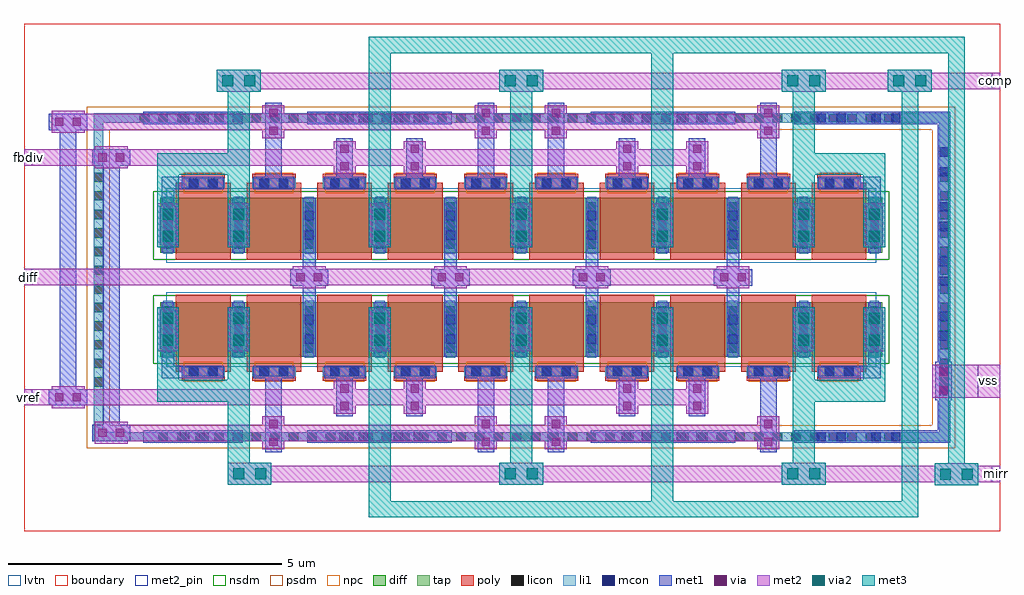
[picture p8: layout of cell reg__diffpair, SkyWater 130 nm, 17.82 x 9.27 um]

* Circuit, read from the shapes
.subckt reg__diffpair comp diff fbdiv mirr vref vss
XM1 mirr mirr mirr vss sky130_fd_pr__nfet_01v8_lvt w=1 l=1 m=2
XM2 comp comp comp vss sky130_fd_pr__nfet_01v8_lvt w=1 l=1 m=2
XM3 diff fbdiv mirr vss sky130_fd_pr__nfet_01v8_lvt w=1 l=1 m=8
XM4 diff vref comp vss sky130_fd_pr__nfet_01v8_lvt w=1 l=1 m=8
.ends

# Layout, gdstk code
from math import pi, radians
import gdstk
lib = gdstk.Library(unit=1e-6, precision=1e-09)
def R(c, l, rs):  # rectangles x0, y0, x1, y1
    for r in rs: c.add(gdstk.rectangle(r[:2], r[2:], *l))
def A(c, l, x, y, w, h, nx, ny, dx, dy):  # array of equal rectangles
    R(c, l, [(x+i*dx, y+j*dy, x+i*dx+w, y+j*dy+h) for i in range(nx) for j in range(ny)])
diff = (65, 20)
tap = (65, 44)
poly = (66, 20)
licon = (66, 44)
li1 = (67, 20)
mcon = (67, 44)
met1 = (68, 20)
via = (68, 44)
met2_pin = (69, 16)
met2 = (69, 20)
via2 = (69, 44)
met3 = (70, 20)
nsdm = (93, 44)
psdm = (94, 20)
npc = (95, 20)
lvtn = (125, 44)
boundary = (235, 4)

regdp__m2 = lib.new_cell('regdp__M2')
R(regdp__m2, diff, [(-0.79,-0.655,0.79,0.345)])
R(regdp__m2, poly, [(-0.5,-0.785,0.5,0.62), (-0.395,0.62,0.395,0.785)])
A(regdp__m2, licon, -0.73, -0.58, 0.17, 0.17, 1, 3, 0, 0.34)
A(regdp__m2, licon, 0.56, -0.58, 0.17, 0.17, 1, 3, 0, 0.34)
R(regdp__m2, licon, [(-0.255,0.535,-0.085,0.705), (0.085,0.535,0.255,0.705)])
R(regdp__m2, li1, [(-0.73,-0.675,-0.56,0.365), (0.56,-0.675,0.73,0.365), (-0.395,0.535,0.395,0.705)])
R(regdp__m2, mcon, [(-0.73,-0.42,-0.56,-0.25), (0.56,-0.42,0.73,-0.25), (-0.73,-0.06,-0.56,0.11), (0.56,-0.06,0.73,0.11), (-0.265,0.535,-0.095,0.705), (0.095,0.535,0.265,0.705)])
R(regdp__m2, met1, [(-0.76,-0.655,-0.53,0.345), (0.53,-0.655,0.76,0.345), (-0.375,0.505,0.375,0.735)])
R(regdp__m2, nsdm, [(-0.915,-0.78,0.915,0.47)])
R(regdp__m2, npc, [(-0.355,0.435,0.355,0.805)])
R(regdp__m2, lvtn, [(-0.68,-0.835,0.68,0.525)])

regdp__m1 = lib.new_cell('regdp__M1')
R(regdp__m1, diff, [(-0.79,-0.655,0.79,0.345)])
R(regdp__m1, poly, [(-0.5,-0.785,0.5,0.62), (-0.395,0.62,0.395,0.785)])
A(regdp__m1, licon, -0.73, -0.58, 0.17, 0.17, 1, 3, 0, 0.34)
A(regdp__m1, licon, 0.56, -0.58, 0.17, 0.17, 1, 3, 0, 0.34)
R(regdp__m1, licon, [(-0.255,0.535,-0.085,0.705), (0.085,0.535,0.255,0.705)])
R(regdp__m1, li1, [(-0.73,-0.675,-0.56,0.365), (0.56,-0.675,0.73,0.365), (-0.395,0.535,0.395,0.705)])
R(regdp__m1, mcon, [(-0.73,-0.42,-0.56,-0.25), (0.56,-0.42,0.73,-0.25), (-0.73,-0.06,-0.56,0.11), (0.56,-0.06,0.73,0.11), (-0.265,0.535,-0.095,0.705), (0.095,0.535,0.265,0.705)])
R(regdp__m1, met1, [(-0.76,-0.655,-0.53,0.345), (0.53,-0.655,0.76,0.345), (-0.375,0.505,0.375,0.735)])
R(regdp__m1, nsdm, [(-0.915,-0.78,0.915,0.47)])
R(regdp__m1, npc, [(-0.355,0.435,0.355,0.805)])
R(regdp__m1, lvtn, [(-0.68,-0.835,0.68,0.525)])

regdp__guardring_n = lib.new_cell('regdp__Guardring_N')
A(regdp__guardring_n, licon, 0.735, -8.405, 0.17, 0.17, 40, 1, 0.34, 0)
A(regdp__guardring_n, licon, -0.445, -7.405, 0.17, 0.17, 1, 12, 0, 0.34)
A(regdp__guardring_n, licon, 14.995, -7.405, 0.17, 0.17, 1, 12, 0, 0.34)
A(regdp__guardring_n, licon, 0.395, -2.585, 0.17, 0.17, 41, 1, 0.34, 0)
regdp__guardring_n.add(gdstk.FlexPath([(-0.445,-2.5),(15.08,-2.5),(15.08,-8.32),(-0.36,-8.32),(-0.36,-2.5)], 0.17, ends="flush", simple_path=True, layer=67, datatype=20))  # li1
regdp__guardring_n.add(gdstk.FlexPath([(-0.445,-2.5),(15.08,-2.5),(15.08,-8.32),(-0.36,-8.32),(-0.36,-2.5)], 0.17, ends="flush", simple_path=True, layer=65, datatype=44))  # tap
regdp__guardring_n.add(gdstk.FlexPath([(-0.57,-2.5),(15.08,-2.5),(15.08,-8.32),(-0.36,-8.32),(-0.36,-2.5)], 0.42, ends="flush", simple_path=True, layer=94, datatype=20))  # psdm

via__m2_m3 = lib.new_cell('via__M2_M3')
R(via__m2_m3, met2, [(0,0,0.8,0.4)])
R(via__m2_m3, via2, [(0.1,0.1,0.3,0.3), (0.1,0.1,0.3,0.3), (0.5,0.1,0.7,0.3), (0.5,0.1,0.7,0.3)])
R(via__m2_m3, met3, [(0,0,0.8,0.4)])

via__m1_m2 = lib.new_cell('via__M1_M2')
R(via__m1_m2, met1, [(0,0.05,0.7,0.35)])
R(via__m1_m2, via, [(0.115,0.125,0.265,0.275), (0.435,0.125,0.585,0.275)])
R(via__m1_m2, met2, [(0.05,0,0.65,0.4)])

via__li_m1 = lib.new_cell('via__LI_M1')
R(via__li_m1, li1, [(0.03,0.03,0.56,0.2)])
R(via__li_m1, mcon, [(0.03,0.03,0.2,0.2), (0.39,0.03,0.56,0.2)])
R(via__li_m1, met1, [(0,0,0.59,0.23)])

regdp__dum = lib.new_cell('regdp__DUM')
R(regdp__dum, diff, [(-0.79,-0.655,0.79,0.345)])
R(regdp__dum, poly, [(-0.5,-0.785,0.5,0.62), (-0.395,0.62,0.395,0.785)])
A(regdp__dum, licon, -0.73, -0.58, 0.17, 0.17, 1, 3, 0, 0.34)
A(regdp__dum, licon, 0.56, -0.58, 0.17, 0.17, 1, 3, 0, 0.34)
R(regdp__dum, licon, [(-0.255,0.535,-0.085,0.705), (0.085,0.535,0.255,0.705)])
R(regdp__dum, li1, [(-0.73,-0.675,-0.56,0.365), (0.56,-0.675,0.73,0.365), (-0.395,0.535,0.395,0.705)])
R(regdp__dum, mcon, [(-0.73,-0.42,-0.56,-0.25), (0.56,-0.42,0.73,-0.25), (-0.73,-0.06,-0.56,0.11), (0.56,-0.06,0.73,0.11), (-0.265,0.535,-0.095,0.705), (0.095,0.535,0.265,0.705)])
R(regdp__dum, met1, [(-0.76,-0.655,-0.53,0.345), (0.53,-0.655,0.76,0.345), (-0.375,0.505,0.375,0.735)])
R(regdp__dum, nsdm, [(-0.915,-0.78,0.915,0.47)])
R(regdp__dum, npc, [(-0.355,0.435,0.355,0.805)])
R(regdp__dum, lvtn, [(-0.68,-0.835,0.68,0.525)])

reg__diffpair = lib.new_cell('reg__diffpair')
A(reg__diffpair, met1, 5.095, 4.185, 0.23, 0.9, 4, 1, 2.58, 0)
R(reg__diffpair, met1, [(4.405,2.145,4.705,2.795), (4.405,2.145,4.705,2.795), (8.285,2.145,8.585,2.795), (8.285,2.145,8.585,2.795), (9.565,2.145,9.865,2.795), (9.565,2.145,9.865,2.795), (13.445,2.145,13.745,2.795), (13.445,2.145,13.745,2.795), (4.405,6.475,4.705,7.125), (4.405,6.475,4.705,7.125), (8.285,6.475,8.585,7.125), (8.285,6.475,8.585,7.125), (9.565,6.475,9.865,7.125), (9.565,6.475,9.865,7.125), (13.445,6.475,13.745,7.125), (13.445,6.475,13.745,7.125)])
R(reg__diffpair, met2_pin, [(17.675,0.895,17.825,1.195), (0,2.295,0.15,2.595), (17.415,2.44,17.825,3.04), (0,4.49,0.15,4.79), (0,6.675,0.15,6.975), (17.675,8.075,17.825,8.375)])
R(reg__diffpair, met2, [(16.59,2.44,17.825,3.04)])
A(reg__diffpair, met3, 3.72, 0.85, 0.4, 3.235, 3, 1, 5.16, 0)
A(reg__diffpair, met3, 3.72, 5.185, 0.4, 3.24, 3, 1, 5.16, 0)
R(reg__diffpair, met3, [(6.3,0.25,6.7,4.085), (11.46,0.25,11.86,4.085), (2.43,2.365,2.83,4.085), (2.43,2.365,4.12,2.765), (14.04,2.365,15.73,2.765), (15.33,2.365,15.73,4.085), (2.43,5.185,2.83,6.905), (6.3,5.185,6.7,9.025), (11.46,5.185,11.86,9.025), (15.33,5.185,15.73,6.905), (2.43,6.505,4.12,6.905), (14.04,6.505,15.73,6.905)])
R(reg__diffpair, boundary, [(0,0,17.825,9.265)])
reg__diffpair.add(gdstk.FlexPath([(1.595,6.825),(1.595,1.795)], 0.3, ends="extended", simple_path=True, layer=68, datatype=20))  # met1
reg__diffpair.add(gdstk.FlexPath([(0.805,7.475),(0.805,2.445)], 0.3, ends="extended", simple_path=True, layer=68, datatype=20))  # met1
reg__diffpair.add(gdstk.FlexPath([(15.26,2.91),(15.53,2.91),(15.53,3.185)], 0.23, ends="extended", simple_path=True, layer=68, datatype=20))  # met1
reg__diffpair.add(gdstk.FlexPath([(2.9,2.91),(2.63,2.91),(2.63,3.185)], 0.23, ends="extended", simple_path=True, layer=68, datatype=20))  # met1
reg__diffpair.add(gdstk.FlexPath([(15.26,6.36),(15.53,6.36),(15.53,6.085)], 0.23, ends="extended", simple_path=True, layer=68, datatype=20))  # met1
reg__diffpair.add(gdstk.FlexPath([(2.9,6.36),(2.63,6.36),(2.63,6.085)], 0.23, ends="extended", simple_path=True, layer=68, datatype=20))  # met1
reg__diffpair.add(gdstk.FlexPath([(16.8,7.545),(16.8,1.725)], 0.23, ends="extended", simple_path=True, layer=68, datatype=20))  # met1
reg__diffpair.add(gdstk.FlexPath([(16.8,1.725),(14.185,1.725)], 0.23, ends="extended", simple_path=True, layer=68, datatype=20))  # met1
reg__diffpair.add(gdstk.FlexPath([(12.875,1.725),(10.465,1.725)], 0.23, ends="extended", simple_path=True, layer=68, datatype=20))  # met1
reg__diffpair.add(gdstk.FlexPath([(7.695,1.725),(5.285,1.725)], 0.23, ends="extended", simple_path=True, layer=68, datatype=20))  # met1
reg__diffpair.add(gdstk.FlexPath([(3.88,1.725),(2.295,1.725)], 0.23, ends="extended", simple_path=True, layer=68, datatype=20))  # met1
reg__diffpair.add(gdstk.FlexPath([(16.8,7.545),(14.185,7.545)], 0.23, ends="extended", simple_path=True, layer=68, datatype=20))  # met1
reg__diffpair.add(gdstk.FlexPath([(12.875,7.545),(10.465,7.545)], 0.23, ends="extended", simple_path=True, layer=68, datatype=20))  # met1
reg__diffpair.add(gdstk.FlexPath([(7.695,7.545),(5.285,7.545)], 0.23, ends="extended", simple_path=True, layer=68, datatype=20))  # met1
reg__diffpair.add(gdstk.FlexPath([(3.88,7.545),(2.295,7.545)], 0.23, ends="extended", simple_path=True, layer=68, datatype=20))  # met1
reg__diffpair.add(gdstk.FlexPath([(17.03,8.875),(6.45,8.875)], 0.3, ends="extended", simple_path=True, layer=70, datatype=20))  # met3
reg__diffpair.add(gdstk.FlexPath([(17.03,8.875),(17.03,0.99)], 0.3, ends="extended", simple_path=True, layer=70, datatype=20))  # met3
reg__diffpair.add(gdstk.FlexPath([(16.18,8.275),(16.18,0.4)], 0.3, ends="extended", simple_path=True, layer=70, datatype=20))  # met3
reg__diffpair.add(gdstk.FlexPath([(16.18,0.4),(6.45,0.4)], 0.3, ends="extended", simple_path=True, layer=70, datatype=20))  # met3
reg__diffpair.add(gdstk.FlexPath([(3.87,1.045),(17.675,1.045)], 0.3, ends="extended", simple_path=True, layer=69, datatype=20))  # met2
reg__diffpair.add(gdstk.FlexPath([(0.15,4.64),(13.1,4.64)], 0.3, ends="extended", simple_path=True, layer=69, datatype=20))  # met2
reg__diffpair.add(gdstk.FlexPath([(0.15,2.445),(12.345,2.445)], 0.3, ends="extended", simple_path=True, layer=69, datatype=20))  # met2
reg__diffpair.add(gdstk.FlexPath([(4.505,1.795),(13.645,1.795)], 0.3, ends="extended", simple_path=True, layer=69, datatype=20))  # met2
reg__diffpair.add(gdstk.FlexPath([(13.645,7.475),(0.655,7.475)], 0.3, ends="extended", simple_path=True, layer=69, datatype=20))  # met2
reg__diffpair.add(gdstk.FlexPath([(1.445,1.795),(13.645,1.795)], 0.3, ends="extended", simple_path=True, layer=69, datatype=20))  # met2
reg__diffpair.add(gdstk.FlexPath([(3.67,8.225),(17.675,8.225)], 0.3, ends="extended", simple_path=True, layer=69, datatype=20))  # met2
reg__diffpair.add(gdstk.FlexPath([(12.345,6.825),(0.15,6.825)], 0.3, ends="extended", simple_path=True, layer=69, datatype=20))  # met2
reg__diffpair.add(gdstk.Reference(regdp__m2, (8.435,5.74)))
reg__diffpair.add(gdstk.Reference(regdp__m2, (9.725,5.74)))
reg__diffpair.add(gdstk.Reference(regdp__m1, (8.435,3.53), rotation=pi))
reg__diffpair.add(gdstk.Reference(regdp__m1, (9.725,3.53), rotation=pi))
reg__diffpair.add(gdstk.Reference(regdp__guardring_n, (1.72,10.045)))
reg__diffpair.add(gdstk.Reference(via__m2_m3, (8.68,0.85)))
reg__diffpair.add(gdstk.Reference(via__m2_m3, (9.28,5.185), rotation=pi/2))
reg__diffpair.add(gdstk.Reference(via__m2_m3, (9.28,3.285), rotation=pi/2))
reg__diffpair.add(gdstk.Reference(via__m1_m2, (7.44,4.435)))
reg__diffpair.add(gdstk.Reference(via__m1_m2, (10.02,4.435)))
reg__diffpair.add(gdstk.Reference(via__m1_m2, (12.6,4.435)))
reg__diffpair.add(gdstk.Reference(via__m1_m2, (4.86,4.435)))
reg__diffpair.add(gdstk.Reference(via__m1_m2, (9.28,3.335), rotation=pi/2))
reg__diffpair.add(gdstk.Reference(via__m1_m2, (9.28,5.235), rotation=pi/2))
reg__diffpair.add(gdstk.Reference(via__li_m1, (16.915,4.45), rotation=pi/2))
reg__diffpair.add(gdstk.Reference(via__m2_m3, (9.48,8.425), rotation=pi))
reg__diffpair.add(gdstk.Reference(via__m2_m3, (15.33,5.985), rotation=3*pi/2))
reg__diffpair.add(gdstk.Reference(regdp__m2, (13.595,5.74)))
reg__diffpair.add(gdstk.Reference(regdp__m1, (11.015,5.74)))
reg__diffpair.add(gdstk.Reference(regdp__m1, (12.305,5.74)))
reg__diffpair.add(gdstk.Reference(via__m2_m3, (11.86,5.185), rotation=pi/2))
reg__diffpair.add(gdstk.Reference(via__m2_m3, (14.44,5.185), rotation=pi/2))
reg__diffpair.add(gdstk.Reference(via__m2_m3, (14.64,8.425), rotation=pi))
reg__diffpair.add(gdstk.Reference(regdp__dum, (14.885,5.74)))
reg__diffpair.add(gdstk.Reference(via__m1_m2, (13.795,7.125), rotation=pi/2))
reg__diffpair.add(gdstk.Reference(via__m2_m3, (16.575,8.425), rotation=pi))
reg__diffpair.add(gdstk.Reference(via__m2_m3, (16.575,8.425), rotation=pi))
reg__diffpair.add(gdstk.Reference(via__li_m1, (16.915,6.45), rotation=pi/2))
reg__diffpair.add(gdstk.Reference(via__li_m1, (16.915,5.45), rotation=pi/2))
reg__diffpair.add(gdstk.Reference(via__li_m1, (15.445,7.43)))
reg__diffpair.add(gdstk.Reference(via__li_m1, (14.445,7.43)))
reg__diffpair.add(gdstk.Reference(via__li_m1, (11.89,7.43)))
reg__diffpair.add(gdstk.Reference(via__m1_m2, (11.215,6.475), rotation=pi/2))
reg__diffpair.add(gdstk.Reference(via__m1_m2, (12.495,6.475), rotation=pi/2))
reg__diffpair.add(gdstk.Reference(via__li_m1, (10.89,7.43)))
reg__diffpair.add(gdstk.Reference(via__m1_m2, (11.86,5.235), rotation=pi/2))
reg__diffpair.add(gdstk.Reference(via__m1_m2, (9.915,7.125), rotation=pi/2))
reg__diffpair.add(gdstk.Reference(via__m1_m2, (14.44,5.235), rotation=pi/2))
reg__diffpair.add(gdstk.Reference(via__m1_m2, (15.73,5.935), rotation=3*pi/2, x_reflection=True))
reg__diffpair.add(gdstk.Reference(via__m2_m3, (6.7,5.185), rotation=pi/2))
reg__diffpair.add(gdstk.Reference(regdp__m1, (5.855,5.74)))
reg__diffpair.add(gdstk.Reference(via__li_m1, (6.725,7.43)))
reg__diffpair.add(gdstk.Reference(via__li_m1, (5.725,7.43)))
reg__diffpair.add(gdstk.Reference(via__li_m1, (2.815,7.43)))
reg__diffpair.add(gdstk.Reference(via__m2_m3, (4.32,8.425), rotation=pi))
reg__diffpair.add(gdstk.Reference(regdp__m1, (7.145,5.74)))
reg__diffpair.add(gdstk.Reference(regdp__m2, (4.565,5.74)))
reg__diffpair.add(gdstk.Reference(via__m1_m2, (7.335,6.475), rotation=pi/2))
reg__diffpair.add(gdstk.Reference(via__m1_m2, (6.7,5.235), rotation=pi/2))
reg__diffpair.add(gdstk.Reference(via__m2_m3, (2.43,5.985), rotation=3*pi/2))
reg__diffpair.add(gdstk.Reference(regdp__dum, (3.275,5.74)))
reg__diffpair.add(gdstk.Reference(via__m1_m2, (4.755,7.125), rotation=pi/2))
reg__diffpair.add(gdstk.Reference(via__m2_m3, (4.12,5.185), rotation=pi/2))
reg__diffpair.add(gdstk.Reference(via__m1_m2, (4.12,5.235), rotation=pi/2))
reg__diffpair.add(gdstk.Reference(via__m1_m2, (8.635,7.125), rotation=pi/2))
reg__diffpair.add(gdstk.Reference(via__m1_m2, (6.055,6.475), rotation=pi/2))
reg__diffpair.add(gdstk.Reference(via__m1_m2, (4.12,5.235), rotation=pi/2))
reg__diffpair.add(gdstk.Reference(via__m1_m2, (1.155,7.675), rotation=pi))
reg__diffpair.add(gdstk.Reference(via__m1_m2, (1.945,7.025), rotation=pi))
reg__diffpair.add(gdstk.Reference(via__m1_m2, (2.43,5.935), rotation=3*pi/2))
reg__diffpair.add(gdstk.Reference(via__m2_m3, (4.12,5.185), rotation=pi/2))
reg__diffpair.add(gdstk.Reference(via__m1_m2, (8.235,2.145), rotation=3*pi/2))
reg__diffpair.add(gdstk.Reference(via__li_m1, (2.815,1.61)))
reg__diffpair.add(gdstk.Reference(via__m2_m3, (4.12,3.285), rotation=pi/2))
reg__diffpair.add(gdstk.Reference(regdp__m2, (5.855,3.53), rotation=pi))
reg__diffpair.add(gdstk.Reference(via__m2_m3, (2.83,3.285), rotation=pi/2))
reg__diffpair.add(gdstk.Reference(regdp__dum, (3.275,3.53), rotation=pi))
reg__diffpair.add(gdstk.Reference(regdp__m2, (7.145,3.53), rotation=pi))
reg__diffpair.add(gdstk.Reference(via__m2_m3, (3.72,0.85)))
reg__diffpair.add(gdstk.Reference(via__m1_m2, (4.355,2.145), rotation=3*pi/2))
reg__diffpair.add(gdstk.Reference(via__li_m1, (6.725,1.61)))
reg__diffpair.add(gdstk.Reference(via__li_m1, (5.725,1.61)))
reg__diffpair.add(gdstk.Reference(via__m1_m2, (1.945,1.995), rotation=pi))
reg__diffpair.add(gdstk.Reference(regdp__m1, (4.565,3.53), rotation=pi))
reg__diffpair.add(gdstk.Reference(via__m1_m2, (6.7,3.335), rotation=pi/2))
reg__diffpair.add(gdstk.Reference(via__m1_m2, (1.155,2.645), rotation=pi))
reg__diffpair.add(gdstk.Reference(via__m1_m2, (6.935,2.795), rotation=3*pi/2))
reg__diffpair.add(gdstk.Reference(via__m1_m2, (5.655,2.795), rotation=3*pi/2))
reg__diffpair.add(gdstk.Reference(via__m2_m3, (6.7,3.285), rotation=pi/2))
reg__diffpair.add(gdstk.Reference(via__m1_m2, (2.43,3.335), rotation=pi/2, x_reflection=True))
reg__diffpair.add(gdstk.Reference(via__m1_m2, (4.12,3.335), rotation=pi/2))
reg__diffpair.add(gdstk.Reference(via__m1_m2, (13.395,2.145), rotation=3*pi/2))
reg__diffpair.add(gdstk.Reference(via__m1_m2, (9.515,2.145), rotation=3*pi/2))
reg__diffpair.add(gdstk.Reference(via__m2_m3, (11.86,3.285), rotation=pi/2))
reg__diffpair.add(gdstk.Reference(via__m1_m2, (15.73,3.335), rotation=pi/2))
reg__diffpair.add(gdstk.Reference(via__li_m1, (10.89,1.61)))
reg__diffpair.add(gdstk.Reference(via__m1_m2, (16.995,2.39), rotation=pi/2))
reg__diffpair.add(gdstk.Reference(via__m2_m3, (14.44,3.285), rotation=pi/2))
reg__diffpair.add(gdstk.Reference(regdp__dum, (14.885,3.53), rotation=pi))
reg__diffpair.add(gdstk.Reference(regdp__m2, (12.305,3.53), rotation=pi))
reg__diffpair.add(gdstk.Reference(via__m2_m3, (17.43,1.24), rotation=pi))
reg__diffpair.add(gdstk.Reference(via__m1_m2, (14.44,3.335), rotation=pi/2))
reg__diffpair.add(gdstk.Reference(via__m2_m3, (17.43,1.24), rotation=pi))
reg__diffpair.add(gdstk.Reference(regdp__m1, (13.595,3.53), rotation=pi))
reg__diffpair.add(gdstk.Reference(regdp__m2, (11.015,3.53), rotation=pi))
reg__diffpair.add(gdstk.Reference(via__m2_m3, (15.73,3.285), rotation=pi/2))
reg__diffpair.add(gdstk.Reference(via__li_m1, (16.915,3.45), rotation=pi/2))
reg__diffpair.add(gdstk.Reference(via__li_m1, (16.915,2.45), rotation=pi/2))
reg__diffpair.add(gdstk.Reference(via__m2_m3, (13.84,0.85)))
reg__diffpair.add(gdstk.Reference(via__m1_m2, (10.815,2.795), rotation=3*pi/2))
reg__diffpair.add(gdstk.Reference(via__m1_m2, (12.095,2.795), rotation=3*pi/2))
reg__diffpair.add(gdstk.Reference(via__li_m1, (15.445,1.61)))
reg__diffpair.add(gdstk.Reference(via__li_m1, (14.445,1.61)))
reg__diffpair.add(gdstk.Reference(via__li_m1, (11.89,1.61)))
reg__diffpair.add(gdstk.Reference(via__m1_m2, (11.86,3.335), rotation=pi/2))
reg__diffpair.add(gdstk.Label('vss', (17.61,2.745), layer=69, texttype=16))
reg__diffpair.add(gdstk.Label('vref', (0.075,2.445), layer=69, texttype=16))
reg__diffpair.add(gdstk.Label('diff', (0.08,4.64), layer=69, texttype=16))
reg__diffpair.add(gdstk.Label('fbdiv', (0.085,6.825), layer=69, texttype=16))
reg__diffpair.add(gdstk.Label('comp', (17.745,8.225), layer=69, texttype=16))
reg__diffpair.add(gdstk.Label('mirr', (17.755,1.045), layer=69, texttype=16))

lib.write_gds('reg__diffpair.gds')
